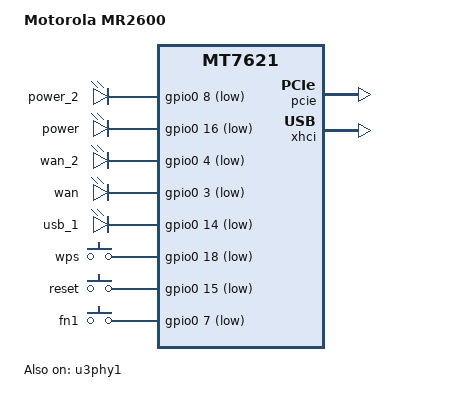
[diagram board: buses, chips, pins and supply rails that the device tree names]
/dts-v1/;

#include "mt7621.dtsi"
#include <dt-bindings/input/input.h>
#include "mt7621-spi-16m-layout.dtsi"
#include "mt7621-raeth-gmac2.dtsi"
#include "mt7621-pinctrl-default-gpio.dtsi"

/ {
	compatible = "mediatek,mt7621-soc";
	model = "Motorola MR2600";

	chosen {
		bootargs = "console=ttyS0,115200";
	};

	leds {
		compatible = "gpio-leds";

		power_orange {
			label = "power_2";
			gpios = <&gpio0 8 GPIO_ACTIVE_LOW>;
		};

		power_green {
			label = "power";
			gpios = <&gpio0 16 GPIO_ACTIVE_LOW>;
		};

		net_orange {
			label = "wan_2";
			gpios = <&gpio0 4 GPIO_ACTIVE_LOW>;
		};

		net_green {
			label = "wan";
			gpios = <&gpio0 3 GPIO_ACTIVE_LOW>;
		};

		usb1 {
			label = "usb_1";
			gpios = <&gpio0 14 GPIO_ACTIVE_LOW>;
		};
	};

	gpio-keys-polled {
		compatible = "gpio-keys-polled";
		#address-cells = <1>;
		#size-cells = <0>;
		poll-interval = <20>;

		wps {
			label = "wps";
			gpios = <&gpio0 18 GPIO_ACTIVE_LOW>;
			linux,code = <KEY_WPS_BUTTON>;
		};

		reset {
			label = "reset";
			gpios = <&gpio0 15 GPIO_ACTIVE_LOW>;
			linux,code = <KEY_RESTART>;
		};

		fn1 { /* wlan */
			label = "fn1";
			gpios = <&gpio0 7 GPIO_ACTIVE_LOW>;
			linux,code = <KEY_FN_1>;
		};
	};
};

&pcie {
	status = "okay";
};

&xhci {
	status = "okay";
};

&u3phy1 {
	status = "okay";
};
